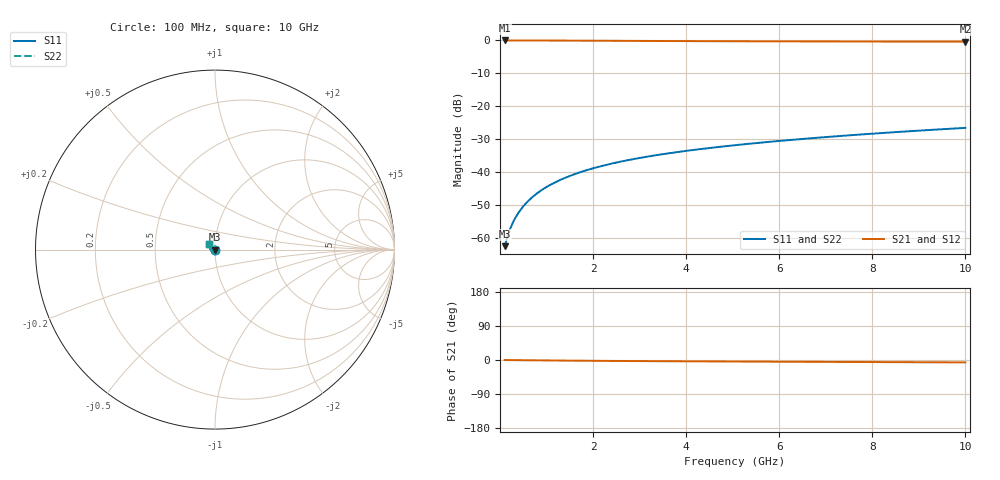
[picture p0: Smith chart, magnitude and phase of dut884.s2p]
! Touchstone file exported from HFSS 2024.1.0
!  File:  C:/UserFiles/LocalFiles/RDL_TSV_Batchsim/temp_TSV1_884_1779883949.aedt
!  Generated:  08:24:44 PM May 27, 2026
!  Design:  TSV1
!  Project:  temp_TSV1_884_1779883949
!  Setup:  Setup1
!  Solution:  Sweep
! Variables:
!  dtsv = 5.75um
!  hbump = 3um
!  htsv = 93um
!  lrdl = 252.1521522um
!  p = 40
!  p1 = 55.63um
!  t = 500um
!  trdl = 3um
!  wrdl = 24.89489489um
# GHz S MA R 50.000000
! Terminal data exported
! Port[1] = TSV22_T1
! Port[2] = TSV22_T2
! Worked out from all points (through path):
!   100 points, 100 MHz to 10 GHz, reference 50 ohm
!   highest |S21| = 0.00 dB at 100 MHz (marker M1); lowest = -0.4 dB at 10 GHz (marker M2)
!   lowest |S11| = -62.4 dB at 100 MHz (marker M3), VSWR 1.00, Z = 50 - j0.0614 ohm
!   |S11| at or under -10 dB: start of sweep to end of sweep
!   |S22| runs from -62.4 to -26.5 dB; largest |S21 - S12| = 1.1e-14
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0.1  0.0007569 -54.2  0.9995 -0.1  0.9995 -0.1  0.0007569 -54.2
! Gamma 0 0 0 0
! Port Impedance 50 0 50 0
0.2  0.001292 -73.6  0.9994 -0.2  0.9994 -0.2  0.001292 -73.6
0.3  0.001868 -82.9  0.9993 -0.4  0.9993 -0.4  0.001868 -82.9
0.4  0.002455 -89.1  0.9991 -0.5  0.9991 -0.5  0.002455 -89.1
0.5  0.003045 -93.8  0.9988 -0.6  0.9988 -0.6  0.003045 -93.8
0.6  0.003635 -97.8  0.9985 -0.7  0.9985 -0.7  0.003635 -97.8
0.7  0.004224 -101.4  0.9982 -0.8  0.9982 -0.8  0.004224 -101.4
0.8  0.00481 -104.6  0.9978 -0.9  0.9978 -0.9  0.00481 -104.6
0.9  0.005393 -107.7  0.9974 -1.0  0.9974 -1.0  0.005393 -107.7
1.1  0.006547 -113.5  0.9964 -1.3  0.9964 -1.3  0.006547 -113.5
1.4  0.008241 -121.5  0.9947 -1.6  0.9947 -1.6  0.008241 -121.5
1.6  0.009344 -126.5  0.9934 -1.8  0.9934 -1.8  0.009344 -126.5
1.8  0.01043 -131.2  0.992 -1.9  0.992 -1.9  0.01043 -131.2
2.1  0.01201 -138.0  0.9899 -2.2  0.9899 -2.2  0.01201 -138.0
2.5  0.01404 -146.4  0.9871 -2.5  0.9871 -2.5  0.01404 -146.4
2.9  0.016 -154.2  0.9842 -2.8  0.9842 -2.8  0.016 -154.2
3.4  0.01836 -162.9  0.9809 -3.1  0.9809 -3.1  0.01836 -162.9
4.2  0.022 -175.2  0.9761 -3.6  0.9761 -3.6  0.022 -175.2
5.1  0.02596 173.3  0.9716 -4.1  0.9716 -4.1  0.02596 173.3
6.7  0.03288 157.4  0.9658 -4.8  0.9658 -4.8  0.03288 157.4
8.4  0.04022 145.0  0.9616 -5.6  0.9616 -5.6  0.04022 145.0
10  0.04716 136.1  0.9587 -6.3  0.9587 -6.3  0.04716 136.1
